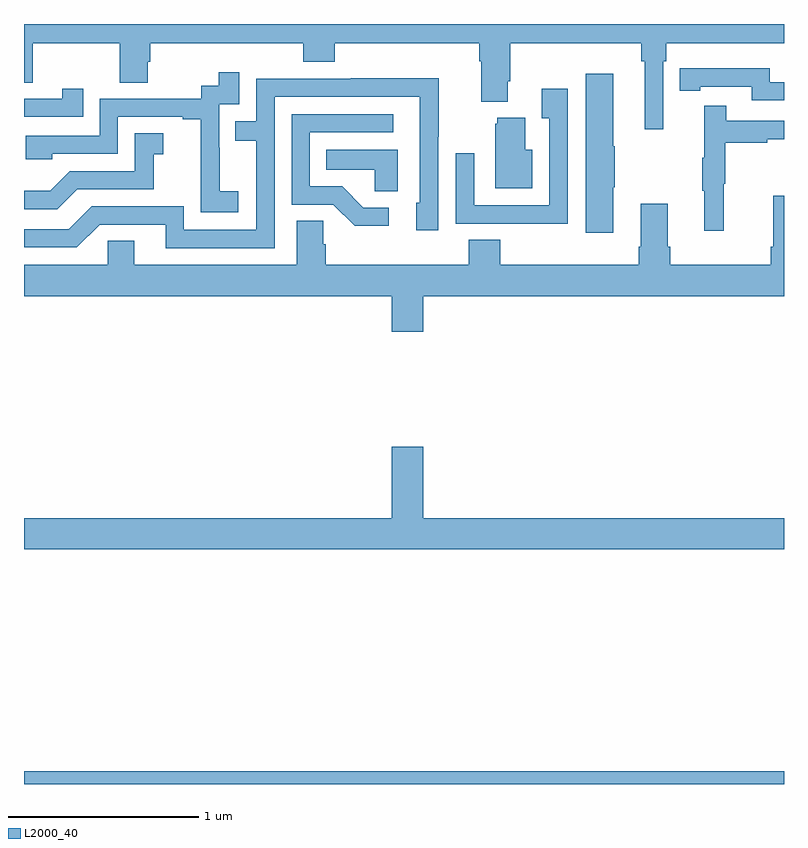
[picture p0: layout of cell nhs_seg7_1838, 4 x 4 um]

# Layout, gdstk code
import gdstk
lib = gdstk.Library(unit=1e-6, precision=1e-09)
def R(c, l, rs):  # rectangles x0, y0, x1, y1
    for r in rs: c.add(gdstk.rectangle(r[:2], r[2:], *l))
def P(c, l, *ps):  # polygons
    for p in ps: c.add(gdstk.Polygon(p, *l))
L2000_40 = (2000, 40)

nhs_seg7_1838 = lib.new_cell('nhs_seg7_1838')
R(nhs_seg7_1838, L2000_40, [(235,1046,239,1046.068)])
P(nhs_seg7_1838, L2000_40, [(238.365,1049.804),(238.379,1049.804),(238.379,1049.9),(239,1049.9),(239,1050),(235,1050),(235,1049.692),(235.047,1049.692),(235.047,1049.9),(235.504,1049.9),(235.504,1049.692),(235.651,1049.692),(235.651,1049.802),(235.664,1049.802),(235.664,1049.9),(236.471,1049.9),(236.471,1049.801),(236.636,1049.801),(236.636,1049.9),(237.395,1049.9),(237.395,1049.804),(237.407,1049.804),(237.407,1049.591),(237.547,1049.591),(237.547,1049.698),(237.56,1049.698),(237.56,1049.9),(238.249,1049.9),(238.249,1049.804),(238.268,1049.804),(238.268,1049.445),(238.365,1049.445)],
  [(239,1049.694),(238.926,1049.694),(238.926,1049.767),(238.558,1049.767),(238.558,1049.766),(238.45,1049.766),(238.45,1049.65),(238.558,1049.65),(238.558,1049.67),(238.83,1049.67),(238.83,1049.598),(239,1049.598)],
  [(236.128,1049.119),(236.03,1049.119),(236.03,1049.348),(236.028,1049.348),(236.028,1049.577),(236.133,1049.577),(236.133,1049.746),(236.025,1049.746),(236.025,1049.676),(235.932,1049.676),(235.932,1049.607),(235.398,1049.607),(235.398,1049.412),(235.009,1049.412),(235.009,1049.289),(235.149,1049.289),(235.149,1049.316),(235.494,1049.316),(235.494,1049.511),(235.835,1049.511),(235.835,1049.499),(235.931,1049.499),(235.931,1049.215),(235.93,1049.215),(235.93,1049.009),(236.128,1049.009)],
  [(238.102,1049.14),(238.11,1049.14),(238.11,1049.357),(238.102,1049.357),(238.102,1049.737),(237.956,1049.737),(237.956,1048.902),(238.102,1048.902)],
  [(236.319,1049.616),(237.084,1049.616),(237.084,1049.058),(237.065,1049.058),(237.065,1048.914),(237.18,1048.914),(237.18,1049.407),(237.183,1049.407),(237.183,1049.714),(236.719,1049.714),(236.719,1049.712),(236.223,1049.712),(236.223,1049.487),(236.113,1049.487),(236.113,1049.386),(236.223,1049.386),(236.223,1048.917),(235.842,1048.917),(235.842,1049.04),(235.356,1049.04),(235.236,1048.92),(235,1048.92),(235,1048.824),(235.278,1048.824),(235.398,1048.944),(235.745,1048.944),(235.745,1048.821),(236.319,1048.821)],
  [(237.861,1049.659),(237.725,1049.659),(237.725,1049.503),(237.765,1049.503),(237.765,1049.046),(237.369,1049.046),(237.369,1049.32),(237.273,1049.32),(237.273,1048.95),(237.589,1048.95),(237.589,1048.949),(237.861,1048.949)],
  [(235.313,1049.659),(235.202,1049.659),(235.202,1049.607),(235,1049.607),(235,1049.511),(235.313,1049.511)],
  [(238.682,1049.16),(238.69,1049.16),(238.69,1049.374),(238.913,1049.374),(238.913,1049.394),(239,1049.394),(239,1049.49),(238.697,1049.49),(238.697,1049.569),(238.58,1049.569),(238.58,1049.297),(238.569,1049.297),(238.569,1049.123),(238.58,1049.123),(238.58,1048.911),(238.682,1048.911)],
  [(236.92,1049.034),(236.785,1049.034),(236.674,1049.145),(236.505,1049.145),(236.505,1049.43),(236.944,1049.43),(236.944,1049.526),(236.409,1049.526),(236.409,1049.049),(236.628,1049.049),(236.741,1048.937),(236.92,1048.937)],
  [(237.676,1049.338),(237.637,1049.338),(237.637,1049.506),(237.491,1049.506),(237.491,1049.475),(237.479,1049.475),(237.479,1049.135),(237.676,1049.135)],
  [(235.279,1049.13),(235.683,1049.13),(235.683,1049.315),(235.732,1049.315),(235.732,1049.425),(235.584,1049.425),(235.584,1049.226),(235.242,1049.226),(235.138,1049.122),(235,1049.122),(235,1049.025),(235.174,1049.025)],
  [(236.968,1049.338),(236.59,1049.338),(236.59,1049.234),(236.847,1049.234),(236.847,1049.119),(236.968,1049.119)],
  [(237.1,1048.568),(239,1048.568),(239,1049.095),(238.943,1049.095),(238.943,1048.828),(238.931,1048.828),(238.931,1048.732),(238.4,1048.732),(238.4,1048.828),(238.387,1048.828),(238.387,1049.053),(238.247,1049.053),(238.247,1048.828),(238.235,1048.828),(238.235,1048.732),(237.506,1048.732),(237.506,1048.865),(237.341,1048.865),(237.341,1048.732),(236.588,1048.732),(236.588,1048.841),(236.574,1048.841),(236.574,1048.964),(236.435,1048.964),(236.435,1048.732),(235.579,1048.732),(235.579,1048.859),(235.44,1048.859),(235.44,1048.732),(235,1048.732),(235,1048.568),(236.936,1048.568),(236.936,1048.38),(237.1,1048.38)],
  [(239,1047.4),(237.1,1047.4),(237.1,1047.775),(236.936,1047.775),(236.936,1047.4),(235,1047.4),(235,1047.236),(239,1047.236)])

lib.write_gds('nhs_seg7_1838.gds')
